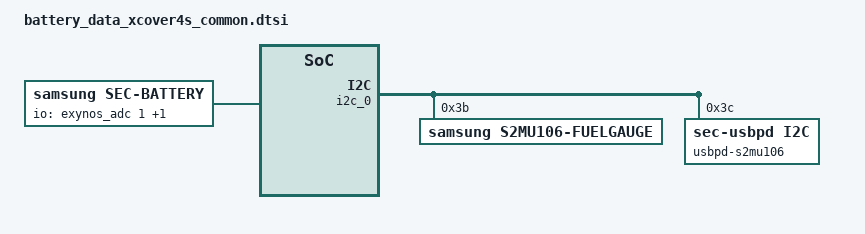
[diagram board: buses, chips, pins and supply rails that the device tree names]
/*
 * A20E Battery parameters device tree file
 *
 * Copyright (C) 2018 Samsung Electronics, Inc.
 *
 * This program is free software; you can redistribute it and/or
 * modify it under the terms of the GNU General Public License
 * as published by the Free Software Foundation; either version 2
 * of the License, or (at your option) any later version.
 *
 * This program is distributed in the hope that it will be useful,
 * but WITHOUT ANY WARRANTY; without even the implied warranty of
 * MERCHANTABILITY or FITNESS FOR A PARTICULAR PURPOSE. See the
 * GNU General Public License for more details.
 *
 * You should have received a copy of the GNU General Public License
 * along with this program. If not, see <http://www.gnu.org/licenses/>.
 *
 */

/ {
	fragment@battery {
		target-path = "/";
		__overlay__ {
			battery_params {
				battery,battery_data =
				<
					/***** battery data for 4.35 *****/
					/* battery,battery_table3 */
					14 11 147 10 25 10 167 9 58 9
					211 8 114 8 26 8 203 7 105 7
					9 7 200 6 155 6 117 6 87 6
					61 6 32 6 244 5 177 5 126 5
					78 5 135 2 104 8 0 8 152 7
					49 7 201 6 98 6 250 5 147 5
					43 5 196 4 92 4 244 3 141 3
					37 3 190 2 86 2 239 1 135 1
					31 1 184 0 80 0 233 15

					/* battery,battery_table4 */
					10 10 10 10 97 97 96 97 96 96
					96 96 97 98 100 101 104 107 113 124
					138 206

					/* battery,batcap */
					0x90 0x29 0x64 0x0A  /* [0x0E] [0x0F] [0x10] [0x11] */

					/* battery,accum */ 
					0x00 0x08 /* [0x44] [0x45] */

					/* battery,soc_arr_val */
					10505 10000 9494 8988 8483 7977 7471 6966 6460 5954
					5449 4943 4437 3932 3426 2920 2415 1909 1403 898
					392 (-113)

					/* battery,ocv_arr_val */
					43817 43218 42620 42066 41534 41028 40557 40124 39743 39260
					38792 38478 38255 38072 37922 37797 37657 37443 37113 36865
					36631 33158

					/* battery,tunning */
					0x00

					/***** battery data for 4.33 *****/
					/* battery,battery_table3 */
					14 11 147 10 25 10 167 9 58 9
					211 8 114 8 26 8 203 7 105 7
					9 7 200 6 155 6 117 6 87 6
					61 6 32 6 244 5 177 5 126 5
					78 5 135 2 151 8 44 8 194 7
					88 7 237 6 131 6 24 6 174 5
					68 5 217 4 111 4 5 4 154 3
					48 3 197 2 91 2 241 1 134 1
					28 1 178 0 71 0 221 15

					/* battery,battery_table4 */
					65 65 65 64 64 63 64 63 63 63
					64 65 66 67 68 69 70 72 77 85
					103 155

					/* battery,batcap */
					0xF8 0x2A 0xBE 0x0A /* [0x0E] [0x0F] [0x10] [0x11] */
					/* battery,accum */
					0x00 0x8 /* [0x44] [0x45] */

					/* battery,soc_arr_val */
					10735 10216 9696 9177 8658 8138 7619 7099 6580 6061
					5541 5022 4503 3983 3464 2945 2425 1906 1387 867
					348 (-171)

					/* battery,ocv_arr_val */
					43817 43218 42620 42066 41534 41028 40557 40124 39743 39260
					38792 38478 38255 38072 37922 37797 37657 37443 37113 36865
					36631 33158

					/* battery,tunning */
					0x00

					/***** battery data for 4.31 *****/
					/* battery,battery_table3 */
					14 11 147 10 25 10 167 9 58 9
					211 8 114 8 26 8 203 7 105 7
					9 7 200 6 155 6 117 6 87 6
					61 6 32 6 244 5 177 5 126 5
					78 5 135 2 195 8 86 8 234 7
					125 7 17 7 164 6 56 6 203 5
					95 5 242 4 134 4 25 4 173 3
					64 3 212 2 103 2 251 1 142 1
					34 1 181 0 73 0 220 15

					/* battery,battery_table4 */
					65 65 65 64 64 63 64 63 63 63
					64 65 66 67 68 69 70 72 77 85
					103 155

					/* battery,batcap */
					0x30 0x2A 0x8C 0x0A /* [0x0E] [0x0F] [0x10] [0x11] */
					/* battery,accum */
					0x00 0x8 /* [0x44] [0x45] */

					/* battery,soc_arr_val */
					10950 10420 9891 9361 8831 8301 7772 7242 6712 6182
					5652 5123 4593 4063 3533 3004 2474 1944 1414 885
					355 (-174)
					

					/* battery,ocv_arr_val */
					43817 43218 42620 42066 41534 41028 40557 40124 39743 39260
					38792 38478 38255 38072 37922 37797 37657 37443 37113 36865
					36631 33158

					/* battery,tunning */
					0x00
					>;

				battery,battery_table1 = <
						185 11 47 11 166 10 29 10 161 9
						42 9 188 8 87 8 230 7 155 7
						64 7 222 6 161 6 119 6 86 6
						62 6 42 6 5 6 190 5 143 5
						55 5 242 1 215 8 106 8 252 7
						142 7 32 7 178 6 68 6 215 5
						105 5 251 4 141 4 31 4 177 3
						67 3 214 2 104 2 250 1 140 1
						30 1 176 0 66 0 213 15
						>;

				battery,battery_table2 = <
						47 47 48 49 50 51 50 51 51 51
						52 52 52 53 53 54 54 55 56 57
						60 150
						>;

				battery,battery_table3 = <
						85 10 228 9 115 9 12 9 173 8
						79 8 213 7 170 7 97 7 248 6
						187 6 144 6 110 6 84 6 62 6
						36 6 255 5 215 5 152 5 131 5
						144 4 119 1 235 8 123 8 10 8
						153 7 40 7 183 6 71 6 214 5
						101 5 244 4 131 4 18 4 162 3
						49 3 192 2 79 2 222 1 109 1
						253 0 140 0 27 0 213 15
						>;

				battery,battery_table4 = <
						54 54 54 54 54 54 55 55 54 54
						54 54 54 55 56 56 57 59 61 66
						71 117
						>;

				battery,batcap = <0x3A 0x48 0x0E 0x92>; /* [0x0F] [0x0E] [0x11] [0x10] */

				battery,soc_arr_evt1 = <
							11052 10516 9980 9443 8907 8370 7834 7298 6761 6225
							5688 5152 4616 4079 3543 3006 2470 1933 1397 861
							324 (-212)
							>;
				battery,ocv_arr_evt1 = <
							44654 43982 43309 42642 42035 41455 40916 40427 39871 39506
							39065 38583 38285 38080 37922 37804 37704 37525 37177 36947
							36521 32432
							>;

				battery,soc_arr_evt2 = <
							11149 10598 10048 9497 8946 8395 7844 7293 6742 6191
							5640 5089 4538 3988 3437 2886 2335 1784 1233 682
							131 (-208)
							>;
				battery,ocv_arr_evt2 = <
							42913 42362 41810 41308 40843 40384 39791 39580 39226 38712
							38413 38204 38039 37909 37800 37677 37494 37299 36993 36888
							35702 31831
							>;

				battery,data_ver = <0x02>;
			};

			pdic-manager {
				/* sink */
				pdic,max_power = <5000>;
				pdic,op_power = <2500>;
				pdic,max_voltage = <6000>;
				pdic,max_current = <2000>;
				pdic,min_current = <500>;

				pdic,giveback = <0>;
				pdic,usb_com_capable = <1>;
				pdic,no_usb_suspend = <1>;

				/* source */
				source,max_voltage = <5000>;
				source,min_voltage = <4000>;
				source,max_power = <2500>;

				/* sink cap */
				sink,capable_max_voltage = <9000>;
			};

			battery {
				status = "okay";
				compatible = "samsung,sec-battery";

				pinctrl-names = "default";

				battery,vendor = "Battery";
				battery,charger_name = "s2mu106-charger";
				battery,fuelgauge_name = "s2mu106-fuelgauge";
				battery,technology = <2>; /* POWER_SUPPLY_TECHNOLOGY_LION */
				battery,fgsrc_switch_name = "s2mu106-fuelgauge"; /* Fuelgauge voltage source */

				battery,chip_vendor = "LSI";
				battery,temp_adc_type = <1>; /* SEC_BATTERY_ADC_TYPE_AP */

				battery,temp_check_type = <2>; /* SEC_BATTERY_TEMP_CHECK_TEMP */
				battery,chg_temp_check = <1>;

				battery,thermal_source = <2>; /* SEC_BATTERY_THERMAL_SOURCE_ADC */
				battery,chg_thermal_source = <2>; /* SEC_CHARGER_THERMAL_SOURCE_FG */

				battery,polling_time = <10 30 30 30 3600>;

				battery,temp_table_adc = <
							294 342 415 474 552 653 752 893 1045 1213
							1399 1600 1814 2030 2267 2532 2727 2944 3135 3312
							3468 3585 3686
							>;
				battery,temp_table_data = <
							900 850 800 750 700 650 600 550 500 450
							400 350 300 250 200 150 100 50 0 (-50)
							(-100) (-150) (-200)
							>;

				battery,inbat_voltage = <1>;

				battery,inbat_voltage_table_adc = <
							2766 2755 2728 2698 2678 2649 2620 2598 2562 2532
							2508 2475 2448 2429 2401 2370 2348 2318 2288 2258
							>;
				battery,inbat_voltage_table_data = <
							4350 4300 4250 4200 4150 4100 4050 4000 3950 3900
							3850 3800 3750 3700 3650 3600 3550 3500 3450 3400
							>;

				battery,adc_check_count = <5>;

				battery,cable_check_type = <4>; /* SEC_BATTERY_CABLE_CHECK_PSY */
				battery,cable_source_type = <1>; /* SEC_BATTERY_CABLE_SOURCE_EXTERNAL */
				battery,polling_type = <1>; /* SEC_BATTERY_MONITOR_ALARM */
				battery,monitor_initial_count = <0>;

				battery,pre_afc_input_current = <500>;

				battery,battery_check_type = <5>; /* SEC_BATTERY_CHECK_CHARGER */
				battery,check_count = <0>;

				battery,ovp_uvlo_check_type = <3>; /* SEC_BATTERY_OVP_UVLO_CHGPOLLING */

				battery,temp_check_count = <1>;
				battery,temp_highlimit_threshold_event = <800>;
				battery,temp_highlimit_recovery_event = <750>;
				battery,temp_high_threshold_event = <500>;
				battery,temp_high_recovery_event = <480>;
				battery,temp_low_threshold_event = <0>;
				battery,temp_low_recovery_event = <20>;
				battery,temp_highlimit_threshold_normal = <800>;
				battery,temp_highlimit_recovery_normal = <750>;
				battery,temp_high_threshold_normal = <500>;
				battery,temp_high_recovery_normal = <480>;
				battery,temp_low_threshold_normal = <0>;
				battery,temp_low_recovery_normal = <20>;
				battery,temp_highlimit_threshold_lpm = <800>;
				battery,temp_highlimit_recovery_lpm = <750>;
				battery,temp_high_threshold_lpm = <500>;
				battery,temp_high_recovery_lpm = <480>;
				battery,temp_low_threshold_lpm = <0>;
				battery,temp_low_recovery_lpm = <20>;
				battery,wpc_high_threshold_normal = <450>;
				battery,wpc_high_recovery_normal = <400>;
				battery,wpc_low_threshold_normal = <0>;
				battery,wpc_low_recovery_normal = <50>;

				battery,full_check_type = <2>; /* SEC_BATTERY_FULLCHARGED_FG_CURRENT */
				battery,full_check_type_2nd = <2>; /* SEC_BATTERY_FULLCHARGED_FG_CURRENT */
				battery,full_check_count = <1>;
				battery,chg_gpio_full_check = <0>;
				battery,chg_polarity_full_check = <1>;

				battery,mix_high_temp = <420>;
				battery,mix_high_chg_temp = <500>;
				battery,mix_high_temp_recovery = <390>;

				battery,chg_heating_prevention_method = <1>; /* SEC_BATTERY_BY_CHANGING_CURRENT */
				battery,chg_high_temp = <495>;
				battery,chg_high_temp_recovery = <475>;
				battery,chg_input_limit_current = <1000>;
				battery,chg_charging_limit_current = <1500>;

				/* SEC_BATTERY_FULL_CONDITION_SOC |
				 * SEC_BATTERY_FULL_CONDITION_NOTIMEFULL |
				 * SEC_BATTERY_FULL_CONDITION_VCELL
				 */
				battery,full_condition_type = <13>;
				battery,full_condition_soc = <93>;
				battery,full_condition_vcell = <4250>;

				battery,recharge_check_count = <1>;
				battery,recharge_condition_type = <4>; /* SEC_BATTERY_RECHARGE_CONDITION_VCELL */
				battery,recharge_condition_soc = <98>;
				battery,recharge_condition_vcell = <4280>;

				battery,charging_total_time = <14400>;
				battery,hv_charging_total_time = <10800>;
				battery,normal_charging_total_time = <18000>;
				battery,usb_charging_total_time = <36000>;
				battery,recharging_total_time = <5400>;
				battery,charging_reset_time = <0>;

				battery,chg_float_voltage = <4350>;

				battery,swelling_high_temp_block = <410>;
				battery,swelling_high_temp_recov = <390>;
				battery,swelling_wc_high_temp_recov = <390>;
				battery,swelling_low_temp_block_1st = <150>;
				battery,swelling_low_temp_recov_1st = <170>;
				battery,swelling_low_temp_block_2nd = <50>;
				battery,swelling_low_temp_recov_2nd = <70>;

				battery,swelling_low_temp_current = <650>;	/* 0.3C */
				battery,swelling_low_temp_current_2nd = <250>; /* 0.1C */
				battery,swelling_low_temp_topoff = <150>;	/* 0.05C */
				battery,swelling_high_temp_current = <1000>;	/* 0.45C */
				battery,swelling_high_temp_topoff = <150>;	/* 0.05C */

				battery,swelling_drop_float_voltage = <4150>;
				battery,swelling_high_rechg_voltage = <4000>;
				battery,swelling_low_rechg_voltage = <4000>;

				battery,siop_event_check_type = <1>;
				battery,siop_call_cv_current = <330>;
				battery,siop_call_cc_current = <330>;

				battery,siop_input_limit_current = <1200>;
				battery,siop_charging_limit_current = <1000>;
				battery,siop_hv_input_limit_current = <700>;
				battery,siop_hv_charging_limit_current = <1000>;

				battery,pd_charging_charge_power = <15000>;
				battery,max_charging_current = <2000>;
				battery,battery_full_capacity = <3000>;

				battery,input_current_by_siop_20 = <400>;

				/* cycle(week), chg_float_voltage, recharge_condition_vcell, full_condition_vcell, full_condition_soc*/
				battery,age_data = <0 4350 4280 4250 93
						28 4330 4260 4230 92
						36 4310 4240 4210 81>;

				battery,max_input_voltage = <9000>; /* mV */
				battery,max_input_current = <3000>;  /* mA */

				battery,prepare_afc_delay = <0>;

				battery,standard_curr = <2000>;
				battery,expired_time = <11040>; /* 124 + 60 minutes */
				battery,recharging_expired_time = <5400>;

				battery,cisd_max_voltage_thr = <5000>; /* battery ovp detection voltage */

				battery,cisd_alg_index = <7>;
				battery,lowtemp_support_full_volt;
				battery,enable_water_resistance;

				io-channels = <&exynos_adc 1>, <&exynos_adc 2>;
				io-channel-names = "adc-temp", "adc-in-bat";
				#io-channel-cells = <5>;
				io-channel-ranges;

				battery,ttf_capacity = <2370>;
				battery,ttf_hv_charge_current = <1800>;
				battery,cv_data = <
							2038	691	3024
							1956	704	2964
							1875	716	2904
							1795	727	2844
							1715	738	2784
							1679	744	2754
							1599	754	2694
							1494	768	2604
							1423	777	2544
							1358	786	2484
							1298	794	2424
							1226	805	2342
							1146	816	2252
							1071	827	2162
							1000	836	2072
							924		846	1974
							866		854	1888
							788		864	1767
							720		874	1647
							651		884	1503
							571		895	1322
							516		905	1169
							454		915	963
							396		925	757
							349		935	569
							303		945	353
							273		953	178
							266		962	136
							259		971	105
							253		981	74
							246		991	43
							246		1000	0
							>;
			};

/* sec_battery_cable
 *   0	UNKNOWN,
 *   1	NONE,
 *   2	PREPARE_TA,
 *   3	TA,
 *   4	USB,
 *   5	USB_CDP,
 *   6	9V_TA,
 *   7	9V_ERR,
 *   8	9V_UNKNOWN,
 *   9	12V_TA,
 *  10	WIRELESS,
 *  11	HV_WIRELESS,
 *  12	PMA_WIRELESS,
 *  13	WIRELESS_PACK,
 *  14	WIRELESS_PACK_TA,
 *  15	WIRELESS_STAND,
 *  16	WIRELESS_HV_STAND,
 *  17	QC20,
 *  18	QC30,
 *  19	PDIC,
 *  20	UARTOFF,
 *  21	OTG,
 *  22	LAN_HUB,
 *  23	POWER_SHARING,
 *  24	HMT_CONNECTED,
 *  25	HMT_CHARGE,
 *  26	HV_TA_CHG_LIMIT,
 *  27	WIRELESS_VEHICLE,
 *  28	WIRELESS_HV_VEHICLE,
 *  29	PREPARE_WIRELESS_HV,
 *  30	TIMEOUT,
 *  31	SMART_OTG,
 *  32	SMART_NOTG,
 *  33	FACTORY_UART,
 *  34	CABLE_MAX,
 */
			cable-info {
				default_input_current = <1800>;
				default_charging_current = <2000>; /* 2800mAh * 0.72C = 2016mA */
				full_check_current_1st = <275>;
				full_check_current_2nd = <150>;

				current_group_1 {
					cable_number = <1 4 19 21 22 23 30>;
					input_current = <500>;
					charging_current = <500>;
				};

				current_group_2 {
					cable_number = <2 25 31>;
					input_current = <1000>;
					charging_current = <1000>;
				};

				current_group_3 {
					cable_number = <5 32>;
					input_current = <1500>;
					charging_current = <1500>;
				};

				current_group_4 {
					cable_number = <6 7 8>;
					input_current = <1650>;
					charging_current = <2000>;
				};

				current_group_5 {
					cable_number = <9>;
					input_current = <1650>;
					charging_current = <2000>;
				};

				current_group_6 {
					cable_number = <10 12 14 15 27>;
					input_current = <900>;
					charging_current = <1200>;
				};

				current_group_7 {
					cable_number = <13>;
					input_current = <700>;
					charging_current = <1200>;
				};

				current_group_8 {
					cable_number = <24>;
					input_current = <1000>;
					charging_current = <450>;
				};

				current_group_9 {
					cable_number = <26>;
					input_current = <2000>;
					charging_current = <1800>;
				};

				current_group_10 {
					cable_number = <11 16 28>;
					input_current = <650>;
					charging_current = <1200>;
				};

				current_group_11 {
					cable_number = <29>;
					input_current = <500>;
					charging_current = <1200>;
				};
			};

			s2mu106-charger {
				status = "disable";
				compatible = "samsung,s2mu106-charger";
			};
		};
	};
};

&pinctrl_0 {
	fuel_irq: fuel-irq {
		samsung,pins = "gpa2-4";
		samsung,pin-function = <0>;
		samsung,pin-pud = <2>;
		samsung,pin-drv = <0>;
	};

	if_pmic_irq: if-pmic-irq {
		samsung,pins = "gpa2-2";
		samsung,pin-function = <0>;
		samsung,pin-pud = <0>;
		samsung,pin-drv = <0>;
	};

	usbpd_irq: usbpd-irq {
		samsung,pins = "gpa2-3";
		samsung,pin-function = <0x0f>;
		samsung,pin-pud = <0>;
		samsung,pin-drv = <0>;
	};
};

&i2c_0 {
	i2c-gpio,delay-us = <5>;
	status = "okay";
	s2mu106-fuelgauge@3B {
		compatible = "samsung,s2mu106-fuelgauge";
		reg = <0x3B>;
		pinctrl-names = "default";
		pinctrl-0 = <&fuel_irq>;
		fuelgauge,fuel_int = <&gpa2 4 0>;
		fuelgauge,fuel_alert_soc = <1>;
		fuelgauge,fuel_alert_vol = <3300>;
		fuelgauge,low_temp_limit = <100>;
		fuelgauge,low_voltage_limit_lowtemp = <3000>;
		fuelgauge,i_socr_coeff = <84>;
		fuelgauge,sw_vbat_l_recovery_vol = <3465>;
		fuelgauge,capacity_max = <970>;
		fuelgauge,capacity_max_margin = <200>;
		fuelgauge,capacity_min = <0>;
		fuelgauge,capacity_calculation_type = <28>;
		fuelgauge,capacity_full = <2800>;
		fuelgauge,type_str = "SDI";
		fuelgauge,fg_log_enable = <1>;
	};

	usbpd-s2mu106@3C {
		compatible = "sec-usbpd,i2c";
		reg = <0x3C>;
		pinctrl-names = "default";
		pinctrl-0     = <&usbpd_irq>;
		usbpd,usbpd_int = <&gpa2 3 0>;
	};
};
